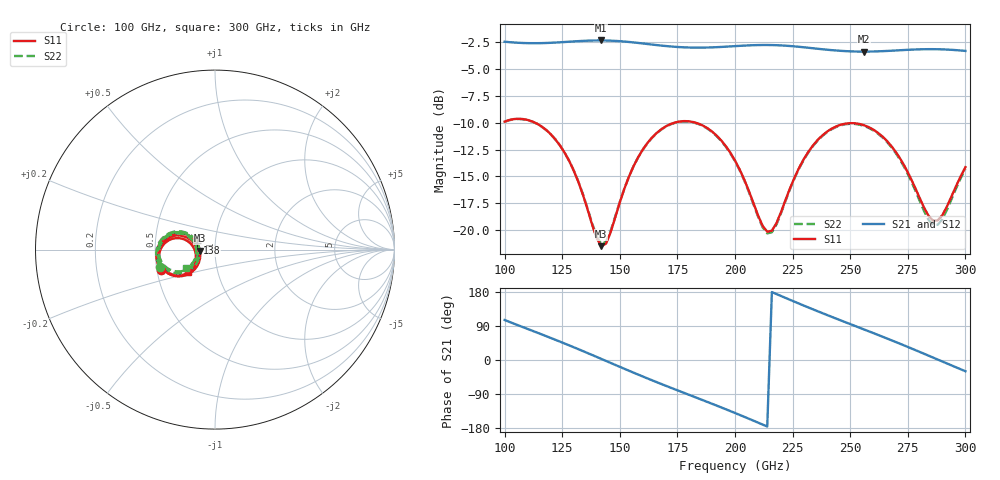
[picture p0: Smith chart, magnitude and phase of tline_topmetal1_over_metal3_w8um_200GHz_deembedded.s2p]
! Created with skrf 2.0.1 (http://scikit-rf.org).
# GHz S DB R 50.0
!freq dBS11 angS11 dBS21 angS21 dBS12 angS12 dBS22 angS22
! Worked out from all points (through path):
!   101 points, 100 GHz to 300 GHz, reference 50 ohm
!   highest |S21| = -2.33 dB at 142 GHz (marker M1); lowest = -3.4 dB at 256 GHz (marker M2)
!   group delay of S21, straight-line fit = 6.88 ps
!   lowest |S11| = -21.5 dB at 142 GHz (marker M3), VSWR 1.18, Z = 42.3 - j0.498 ohm
!   |S11| at or under -10 dB: 113.2 GHz to 173.7 GHz (60.55 GHz wide, 42.2 % of centre); 182.9 GHz to end of sweep
!   |S22| runs from -21.3 to -9.7 dB; largest |S21 - S12| = 8.5e-14
!   S11 on the Smith chart (normalised r, x): 100 GHz: 0.53, -0.13; 138 GHz: 0.82, +0.06; 300 GHz: 0.72, -0.18
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100  -9.90 -159.7  -2.45 105.5  -2.45 105.5  -9.92 -162.1
108  -9.66 -174.4  -2.57 86.6  -2.57 86.6  -9.68 -176.9
118  -10.67 168.0  -2.57 63.0  -2.57 63.0  -10.68 165.4
126  -12.78 156.1  -2.48 43.6  -2.48 43.6  -12.78 153.5
134  -16.72 152.3  -2.37 23.5  -2.37 23.5  -16.67 149.6
138  -19.51 160.5  -2.34 13.2  -2.34 13.2  -19.39 157.8
142  -21.51 -176.0  -2.33 2.8  -2.33 2.8  -21.32 -179.5
146  -20.23 -149.1  -2.35 -7.6  -2.35 -7.6  -20.10 -153.5
154  -15.02 -135.9  -2.47 -28.4  -2.47 -28.4  -15.01 -140.4
168  -10.61 -153.4  -2.81 -63.3  -2.81 -63.3  -10.64 -157.9
184  -10.07 179.8  -3.00 -101.2  -3.00 -101.2  -10.11 175.0
200  -13.53 158.1  -2.86 -139.8  -2.86 -139.8  -13.59 152.8
214  -20.17 -175.2  -2.76 -175.6  -2.76 -175.6  -20.32 179.4
224  -16.05 -139.4  -2.85 158.5  -2.85 158.5  -16.13 -144.7
234  -12.08 -144.9  -3.06 133.3  -3.06 133.3  -12.14 -150.6
244  -10.34 -159.2  -3.27 109.0  -3.27 109.0  -10.39 -165.3
256  -10.24 -178.0  -3.37 80.6  -3.37 80.6  -10.30 175.4
268  -12.21 165.8  -3.29 51.8  -3.29 51.8  -12.31 158.5
278  -15.98 162.9  -3.18 26.9  -3.18 26.9  -16.19 155.0
286  -19.13 -173.9  -3.14 6.3  -3.14 6.3  -19.55 178.9
290  -18.62 -155.6  -3.16 -4.0  -3.16 -4.0  -18.99 -161.9
300  -14.15 -140.7  -3.31 -29.6  -3.31 -29.6  -14.30 -147.1
